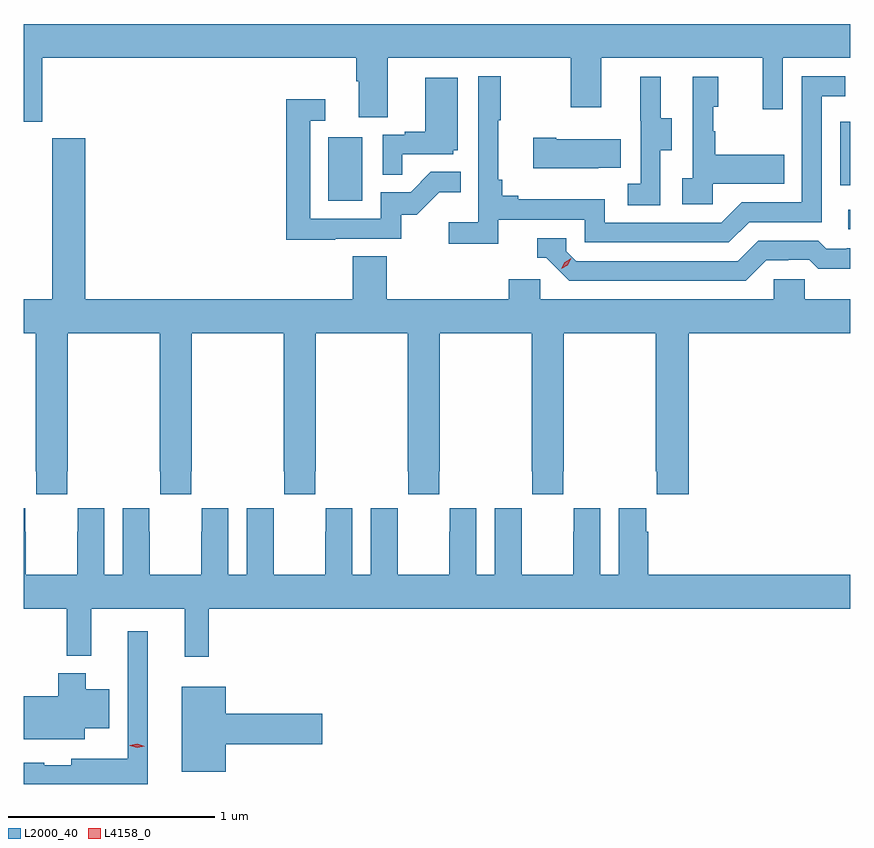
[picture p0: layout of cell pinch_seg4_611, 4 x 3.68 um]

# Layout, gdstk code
import gdstk
lib = gdstk.Library(unit=1e-6, precision=1e-09)
def R(c, l, rs):  # rectangles x0, y0, x1, y1
    for r in rs: c.add(gdstk.rectangle(r[:2], r[2:], *l))
def P(c, l, *ps):  # polygons
    for p in ps: c.add(gdstk.Polygon(p, *l))
L2000_40 = (2000, 40)
L4158_0 = (4158, 0)

pinch_seg4_611 = lib.new_cell('pinch_seg4_611')
R(pinch_seg4_611, L2000_40, [(1071.819,770.682,1071.829,770.778), (1069.304,770.82,1069.468,771.127), (1071.78,770.895,1071.829,771.204)])
P(pinch_seg4_611, L2000_40, [(1067.92,771.512),(1069.439,771.512),(1069.439,771.4),(1069.451,771.4),(1069.451,771.226),(1069.591,771.226),(1069.591,771.512),(1070.476,771.512),(1070.476,771.273),(1070.623,771.273),(1070.623,771.512),(1071.404,771.512),(1071.404,771.264),(1071.501,771.264),(1071.501,771.512),(1071.829,771.512),(1071.829,771.676),(1067.829,771.676),(1067.829,771.203),(1067.92,771.203)],
  [(1070.126,770.73),(1070.544,770.73),(1070.544,770.619),(1071.241,770.619),(1071.34,770.718),(1071.69,770.718),(1071.69,771.327),(1071.803,771.327),(1071.803,771.423),(1071.594,771.423),(1071.594,770.814),(1071.303,770.814),(1071.204,770.715),(1070.64,770.715),(1070.64,770.827),(1070.221,770.827),(1070.221,770.846),(1070.144,770.846),(1070.144,770.923),(1070.125,770.923),(1070.125,771.211),(1070.137,771.211),(1070.137,771.424),(1070.028,771.424),(1070.028,770.716),(1069.887,770.716),(1069.887,770.614),(1070.126,770.614)],
  [(1070.91,771.064),(1070.965,771.064),(1070.965,771.219),(1070.911,771.219),(1070.911,771.421),(1070.813,771.421),(1070.813,771.207),(1070.814,771.207),(1070.814,770.903),(1070.751,770.903),(1070.751,770.8),(1070.91,770.8)],
  [(1071.162,770.903),(1071.509,770.903),(1071.509,771.043),(1071.175,771.043),(1071.175,771.158),(1071.165,771.158),(1071.165,771.276),(1071.19,771.276),(1071.19,771.421),(1071.066,771.421),(1071.066,770.93),(1071.015,770.93),(1071.015,770.805),(1071.162,770.805)],
  [(1069.661,771.045),(1069.908,771.045),(1069.908,771.066),(1069.93,771.066),(1069.93,771.415),(1069.772,771.415),(1069.772,771.154),(1069.673,771.154),(1069.673,771.141),(1069.566,771.141),(1069.566,770.947),(1069.661,770.947)],
  [(1069.337,770.637),(1069.656,770.637),(1069.656,770.754),(1069.732,770.754),(1069.839,770.861),(1069.943,770.861),(1069.943,770.96),(1069.799,770.96),(1069.701,770.862),(1069.557,770.862),(1069.557,770.733),(1069.215,770.733),(1069.215,771.207),(1069.288,771.207),(1069.288,771.313),(1069.099,771.313),(1069.099,770.632),(1069.337,770.632)],
  [(1070.609,770.981),(1070.717,770.981),(1070.717,771.118),(1070.407,771.118),(1070.407,771.126),(1070.295,771.126),(1070.295,770.978),(1070.609,770.978)],
  [(1068.039,769.513),(1068.042,769.513),(1068.042,770.18),(1068.487,770.18),(1068.487,769.513),(1068.489,769.513),(1068.489,769.401),(1068.639,769.401),(1068.639,769.513),(1068.642,769.513),(1068.642,770.18),(1069.087,770.18),(1069.087,769.513),(1069.089,769.513),(1069.089,769.401),(1069.239,769.401),(1069.239,769.513),(1069.242,769.513),(1069.242,770.18),(1069.687,770.18),(1069.687,769.513),(1069.689,769.513),(1069.689,769.401),(1069.839,769.401),(1069.839,769.513),(1069.842,769.513),(1069.842,770.18),(1070.287,770.18),(1070.287,769.513),(1070.289,769.513),(1070.289,769.401),(1070.439,769.401),(1070.439,769.513),(1070.442,769.513),(1070.442,770.18),(1070.887,770.18),(1070.887,769.513),(1070.893,769.513),(1070.893,769.401),(1071.047,769.401),(1071.047,770.18),(1071.829,770.18),(1071.829,770.344),(1071.609,770.344),(1071.609,770.442),(1071.459,770.442),(1071.459,770.344),(1070.328,770.344),(1070.328,770.442),(1070.177,770.442),(1070.177,770.344),(1069.586,770.344),(1069.586,770.552),(1069.421,770.552),(1069.421,770.344),(1068.128,770.344),(1068.128,771.124),(1067.968,771.124),(1067.968,770.344),(1067.829,770.344),(1067.829,770.18),(1067.887,770.18),(1067.887,769.513),(1067.889,769.513),(1067.889,769.401),(1068.039,769.401)],
  [(1071.421,770.532),(1071.528,770.532),(1071.528,770.535),(1071.631,770.535),(1071.673,770.493),(1071.829,770.493),(1071.829,770.592),(1071.811,770.592),(1071.811,770.589),(1071.712,770.589),(1071.673,770.628),(1071.384,770.628),(1071.285,770.529),(1070.502,770.529),(1070.454,770.577),(1070.454,770.64),(1070.315,770.64),(1070.315,770.544),(1070.358,770.544),(1070.469,770.433),(1071.322,770.433)],
  [(1068.725,768.848),(1071.829,768.848),(1071.829,769.012),(1070.852,769.012),(1070.852,769.22),(1070.842,769.22),(1070.842,769.333),(1070.708,769.333),(1070.708,769.012),(1070.62,769.012),(1070.62,769.333),(1070.49,769.333),(1070.49,769.22),(1070.489,769.22),(1070.489,769.012),(1070.239,769.012),(1070.239,769.22),(1070.238,769.22),(1070.238,769.333),(1070.108,769.333),(1070.108,769.012),(1070.02,769.012),(1070.02,769.333),(1069.89,769.333),(1069.89,769.22),(1069.889,769.22),(1069.889,769.012),(1069.639,769.012),(1069.639,769.22),(1069.638,769.22),(1069.638,769.333),(1069.508,769.333),(1069.508,769.012),(1069.42,769.012),(1069.42,769.333),(1069.29,769.333),(1069.29,769.22),(1069.289,769.22),(1069.289,769.012),(1069.039,769.012),(1069.039,769.22),(1069.038,769.22),(1069.038,769.333),(1068.908,769.333),(1068.908,769.012),(1068.82,769.012),(1068.82,769.333),(1068.69,769.333),(1068.69,769.22),(1068.689,769.22),(1068.689,769.012),(1068.439,769.012),(1068.439,769.22),(1068.438,769.22),(1068.438,769.333),(1068.308,769.333),(1068.308,769.012),(1068.22,769.012),(1068.22,769.333),(1068.09,769.333),(1068.09,769.22),(1068.089,769.22),(1068.089,769.012),(1067.839,769.012),(1067.839,769.22),(1067.838,769.22),(1067.838,769.333),(1067.829,769.333),(1067.829,768.848),(1068.037,768.848),(1068.037,768.62),(1068.155,768.62),(1068.155,768.848),(1068.608,768.848),(1068.608,768.615),(1068.725,768.615)],
  [(1068.43,768.739),(1068.333,768.739),(1068.333,768.121),(1068.059,768.121),(1068.059,768.09),(1067.928,768.09),(1067.928,768.103),(1067.829,768.103),(1067.829,767.999),(1068.43,767.999)],
  [(1068.124,768.269),(1068.244,768.269),(1068.244,768.457),(1068.13,768.457),(1068.13,768.535),(1067.996,768.535),(1067.996,768.424),(1067.829,768.424),(1067.829,768.216),(1067.878,768.216),(1067.878,768.215),(1068.124,768.215)],
  [(1068.808,768.191),(1069.273,768.191),(1069.273,768.338),(1068.808,768.338),(1068.808,768.469),(1068.593,768.469),(1068.593,768.059),(1068.808,768.059)])
P(pinch_seg4_611, L4158_0, [(1070.431,770.491),(1070.431,770.491),(1070.447,770.523),(1070.478,770.542),(1070.478,770.542),(1070.478,770.542),(1070.462,770.51),(1070.431,770.491)],
  [(1068.378,768.174),(1068.343,768.185),(1068.343,768.186),(1068.343,768.186),(1068.379,768.194),(1068.414,768.182),(1068.414,768.182),(1068.414,768.182)])

lib.write_gds('pinch_seg4_611.gds')
